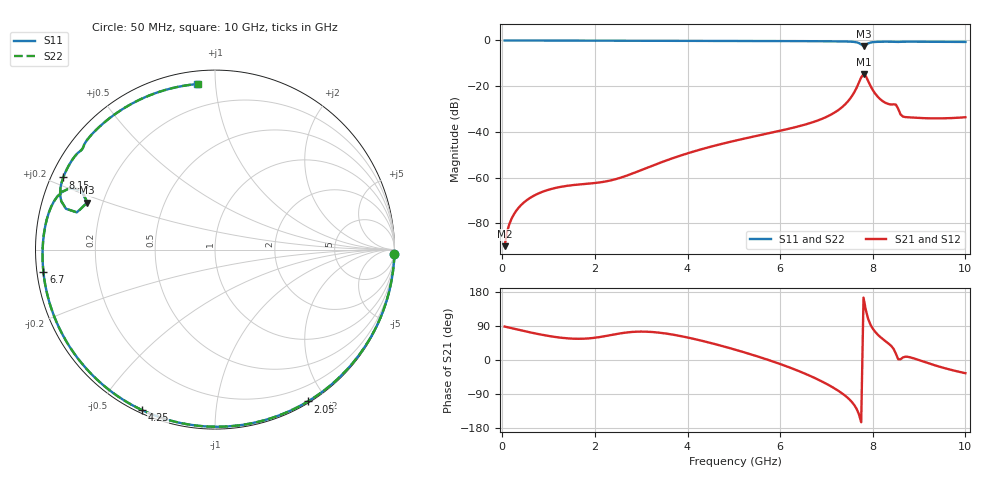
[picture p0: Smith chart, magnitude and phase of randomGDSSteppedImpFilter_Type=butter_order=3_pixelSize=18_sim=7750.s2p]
! freq	dB(S11)	phase(S11)	dB(S12)	phase(S12)
!  dB(S21)	phase(S21)	dB(S22)	phase(S22)
!S-par simulation data
#  GHz  S  DB  R 50
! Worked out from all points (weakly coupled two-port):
!   200 points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, 50 MHz to 10 GHz, reference 50 ohm
!   highest |S21| = -14.76 dB at 7.8 GHz (marker M1); lowest = -89.9 dB at 50 MHz (marker M2)
!   lowest |S11| = -2.4 dB at 7.8 GHz (marker M3), VSWR 7.32, Z = 7.05 + j8.72 ohm
!   |S11| at or under -10 dB: nowhere
!   |S22| runs from -2.4 to 0.0 dB; largest |S21 - S12| = 0
!   S11 on the Smith chart (normalised r, x): 50 MHz: 0, -77; 2.05 GHz: 0.02, -1.78; 4.25 GHz: 0.01, -0.64; 6.7 GHz: 0.02, -0.06; 8.15 GHz: 0.03, +0.23; 10 GHz: 0.07, +0.90
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0.05  -0.00 -1.5  -89.91 88.3  -89.91 88.3  -0.00 -1.5
0.15  -0.01 -4.4  -80.39 85.5  -80.39 85.5  -0.01 -4.4
0.35  -0.01 -10.3  -73.17 79.8  -73.17 79.8  -0.01 -10.3
0.7  -0.03 -20.5  -67.65 70.4  -67.65 70.4  -0.03 -20.5
1.15  -0.04 -33.5  -64.44 60.6  -64.44 60.6  -0.04 -33.5
1.75  -0.06 -50.3  -62.78 56.2  -62.78 56.2  -0.06 -50.3
2.05  -0.07 -58.6  -62.19 59.6  -62.19 59.6  -0.07 -58.6
3.4  -0.12 -93.7  -53.51 72.0  -53.51 72.0  -0.12 -93.8
4.25  -0.15 -114.5  -47.83 52.5  -47.83 52.5  -0.16 -114.6
5.05  -0.20 -133.5  -43.70 26.5  -43.70 26.5  -0.20 -133.5
6.7  -0.32 -172.7  -35.77 -44.8  -35.77 -44.8  -0.32 -172.8
7.4  -0.44 168.6  -27.99 -93.8  -27.99 -93.8  -0.44 168.5
7.7  -1.13 157.1  -18.48 -142.8  -18.48 -142.8  -1.14 156.9
7.8  -2.39 159.8  -14.76 164.5  -14.76 164.5  -2.41 159.7
7.85  -1.97 164.9  -15.59 131.9  -15.59 131.9  -1.99 164.9
7.95  -0.94 162.6  -19.84 93.4  -19.84 93.4  -0.94 162.5
8.15  -0.57 154.6  -25.46 62.0  -25.46 62.0  -0.57 154.5
8.35  -0.54 148.0  -27.85 42.4  -27.85 42.4  -0.54 147.9
8.5  -0.65 143.4  -28.06 16.4  -28.06 16.4  -0.65 143.3
8.6  -0.58 141.2  -32.35 1.9  -32.35 1.9  -0.58 141.1
8.7  -0.54 138.0  -33.48 8.6  -33.48 8.6  -0.54 137.9
10  -0.65 96.1  -33.56 -34.9  -33.56 -34.9  -0.65 95.9
